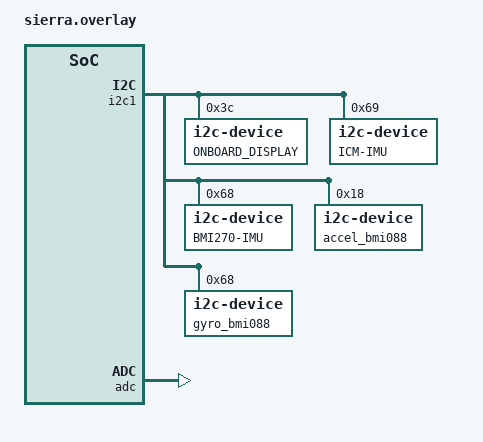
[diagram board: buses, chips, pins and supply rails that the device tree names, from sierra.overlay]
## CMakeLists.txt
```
#[[
MIT License

Copyright (c) 2023 limitless Aeronautics

Permission is hereby granted, free of charge, to any person obtaining a copy
of this software and associated documentation files (the "Software"), to deal
in the Software without restriction, including without limitation the rights
to use, copy, modify, merge, publish, distribute, sublicense, and/or sell
copies of the Software, and to permit persons to whom the Software is
furnished to do so, subject to the following conditions:

The above copyright notice and this permission notice shall be included in all
copies or substantial portions of the Software.

THE SOFTWARE IS PROVIDED "AS IS", WITHOUT WARRANTY OF ANY KIND, EXPRESS OR
IMPLIED, INCLUDING BUT NOT LIMITED TO THE WARRANTIES OF MERCHANTABILITY,
FITNESS FOR A PARTICULAR PURPOSE AND NONINFRINGEMENT. IN NO EVENT SHALL THE
AUTHORS OR COPYRIGHT HOLDERS BE LIABLE FOR ANY CLAIM, DAMAGES OR OTHER
LIABILITY, WHETHER IN AN ACTION OF CONTRACT, TORT OR OTHERWISE, ARISING FROM,
OUT OF OR IN CONNECTION WITH THE SOFTWARE OR THE USE OR OTHER DEALINGS IN THE
SOFTWARE.
]]

cmake_minimum_required(VERSION 3.20.0)
find_package(Zephyr REQUIRED HINTS $ENV{ZEPHYR_BASE})

project(base-firmware-V2)

target_sources(app PRIVATE src/main.c)

# Application sources

add_subdirectory(src/Fan_cooling)
add_subdirectory(src/Display)
add_subdirectory(src/ICM42688P)
add_subdirectory(src/BMI088)
add_subdirectory(src/System)
add_subdirectory(src/Logging)
add_subdirectory(src/PTAM)
```

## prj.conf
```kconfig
CONFIG_I2C=y
CONFIG_UART_CONSOLE=y
CONFIG_BT=y
CONFIG_BT_DEVICE_NAME="HIVE 2"

CONFIG_STDOUT_CONSOLE=y
CONFIG_PRINTK=y
CONFIG_PWM=y

# Logger module
CONFIG_LOG=y

# Button and LED library
CONFIG_DK_LIBRARY=y

# Bluetooth LE
CONFIG_BT=y

CONFIG_BT_PERIPHERAL=y
CONFIG_BT_DEVICE_NAME="HIVE-2"
CONFIG_BT_GATT_CLIENT=y
CONFIG_BT_GAP_AUTO_UPDATE_CONN_PARAMS=y

# STEP 12 - Update Data Length and MTU
CONFIG_BT_USER_DATA_LEN_UPDATE=y
CONFIG_BT_CTLR_DATA_LENGTH_MAX=251
CONFIG_BT_BUF_ACL_RX_SIZE=251
CONFIG_BT_BUF_ACL_TX_SIZE=251
CONFIG_BT_L2CAP_TX_MTU=247

# Increase stack size for the main thread and System Workqueue
CONFIG_SYSTEM_WORKQUEUE_STACK_SIZE=2048
CONFIG_MAIN_STACK_SIZE=2048
```

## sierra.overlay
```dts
&i2c1 {
    display: display@40{
        compatible = "i2c-device";
        reg = < 0x3c >;
        label = "ONBOARD_DISPLAY";
    };

    icm42688: icm42688@69{
        compatible = "i2c-device";
        reg = < 0x69 >;
        label = "ICM-IMU";
    };

    bmi_270: bmi_270@68{
        compatible = "i2c-device";
        reg = < 0x68 >;  //<-- PROBLEM
        label = "BMI270-IMU"; 
    };

    bmi088_acc: bmi088_acc@18{
        compatible = "i2c-device";
        reg = < 0x18 >;
        label = "accel_bmi088";
    };

    bmi088_gyro: bmi088_gyro@68{
        compatible = "i2c-device";
        reg = < 0x68 >;
        label = "gyro_bmi088";
    };

    status = "okay";
    zephyr,concat-buf-size = <2048>;
};

&adc {
	status = "okay";
};
```

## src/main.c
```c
/*MIT License

Copyright (c) 2023 limitless Aeronautics

Permission is hereby granted, free of charge, to any person obtaining a copy
of this software and associated documentation files (the "Software"), to deal
in the Software without restriction, including without limitation the rights
to use, copy, modify, merge, publish, distribute, sublicense, and/or sell
copies of the Software, and to permit persons to whom the Software is
furnished to do so, subject to the following conditions:

The above copyright notice and this permission notice shall be included in all
copies or substantial portions of the Software.

THE SOFTWARE IS PROVIDED "AS IS", WITHOUT WARRANTY OF ANY KIND, EXPRESS OR
IMPLIED, INCLUDING BUT NOT LIMITED TO THE WARRANTIES OF MERCHANTABILITY,
FITNESS FOR A PARTICULAR PURPOSE AND NONINFRINGEMENT. IN NO EVENT SHALL THE
AUTHORS OR COPYRIGHT HOLDERS BE LIABLE FOR ANY CLAIM, DAMAGES OR OTHER
LIABILITY, WHETHER IN AN ACTION OF CONTRACT, TORT OR OTHERWISE, ARISING FROM,
OUT OF OR IN CONNECTION WITH THE SOFTWARE OR THE USE OR OTHER DEALINGS IN THE
SOFTWARE.*/

#include <zephyr/kernel.h>
#include "Display/ssd1306.h"
#include "System/_state.h"
#include "datalink/bt_data/bt_data.h"

uint8_t DRONE_STATE = 1;

void INIT_CORE0();

int main(void){
    INIT_CORE0();
}

void INIT_CORE0(){
    SSD1306_Init();
    displayBOOT();

    ble_gatt_start();

    //FAN_COOLING *cool = new FAN_COOLING();
    //cool -> init_relay();
    //delete cool;

    while(1){

        if(DRONE_STATE == 1){ // STANDBY
            printk("StandBy");
            //Display Controller
            displayStandByClientSuccess();
            //Fan Controller
            //cool -> coolSierra_task(baro -> pushTemperature());
            //FROM STANDBY PREP WE CAN EITHER SWITCH TO ARMED OR BYPASS
            if(SWITCH2ARMED() == 1){
                DRONE_STATE = 2;
                continue;
            }
            if(SWITCH2BYPASS() == 1){
                DRONE_STATE = 3;
                continue;
            }
        }

        if(DRONE_STATE == 2){ // ARMED
            //Display Controller
            displayARMED();
            //Fan Controller
            //cool -> coolSierra_task(baro -> pushTemperature());
            //FROM ARMED WE CAN EITHER SWITCH TO STANDY PREP OR BYPASS
            if(SWITCH2PREP() == 1){
                DRONE_STATE = 1;
                continue;
            }
            if(SWITCH2BYPASS() == 1){
                DRONE_STATE = 3;
                continue;
            }
        }
            
        if(DRONE_STATE == 3){ // BYPASS
            //Display Controller
            displayBYPASS();
            //Fan Controller
            //cool -> coolSierra_task(baro -> pushTemperature());
            //FROM BYPASS WE CAN EITHER SWITCH TO STANDY PREP OR ARMED
            if(SWITCH2PREP() == 1){
                DRONE_STATE = 1;
                continue;
            }
            if(SWITCH2ARMED() == 1){
                DRONE_STATE = 2;
                continue;
            }
        }
    }

}
```

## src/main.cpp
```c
#include <zephyr/kernel.h>
#include "system/_state.h"
#include "system/sys_controller.h"
#include <string>

uint8_t DRONE_STATE = 1;

void INIT_CORE0(void *pvParameters);

int main(void){

}

void INIT_CORE0(void *pvParameters){
        CONTROLLER_TASKS *CTobj = new CONTROLLER_TASKS();
        //Boot 
        CTobj -> _init_();
        delete CTobj;

        while(1){
            CONTROLLER_TASKS *CTobj = new CONTROLLER_TASKS();
            STATE *change = new STATE(); 

            if(DRONE_STATE == 1){ // STANDBY
                //FROM STANDBY PREP WE CAN EITHER SWITCH TO ARMED OR BYPASS
                CTobj -> _PREP_();
                if(change -> SWITCH2ARMED() == 1){
                    DRONE_STATE = 2;
                    continue;
                }
                if(change -> SWITCH2BYPASS() == 1){
                    DRONE_STATE = 3;
                    continue;
                }
            }

            if(DRONE_STATE == 2){ // ARMED
                //FROM ARMED WE CAN EITHER SWITCH TO STANDY PREP OR BYPASS
                CTobj -> _ARMED_();
                if(change -> SWITCH2PREP() == 1){
                    DRONE_STATE = 1;
                    continue;
                }
                if(change -> SWITCH2BYPASS() == 1){
                    DRONE_STATE = 3;
                    continue;
                }
            }
            
            if(DRONE_STATE == 3){ // BYPASS
                //FROM BYPASS WE CAN EITHER SWITCH TO STANDY PREP OR ARMED
                CTobj -> _bypass_(std::string("ID"));
                if(change -> SWITCH2PREP() == 1){
                    DRONE_STATE = 1;
                    continue;
                }
                if(change -> SWITCH2ARMED() == 1){
                    DRONE_STATE = 2;
                    continue;
                }
            }

            delete change;
            delete CTobj;
        }
}
```
